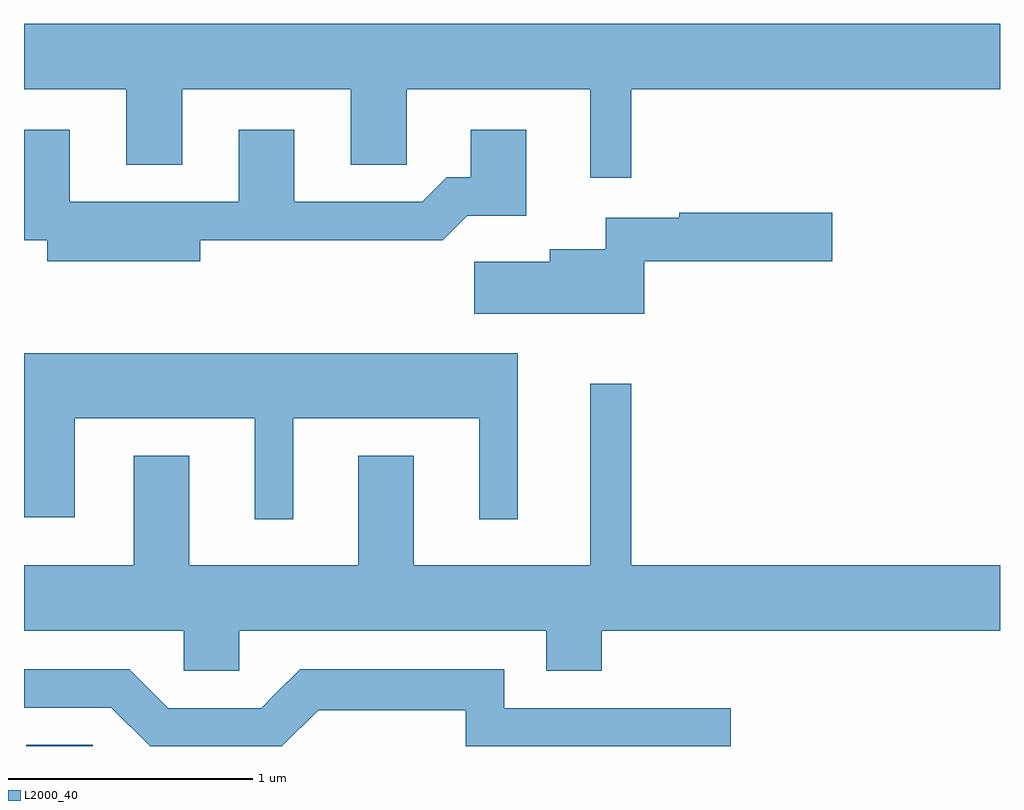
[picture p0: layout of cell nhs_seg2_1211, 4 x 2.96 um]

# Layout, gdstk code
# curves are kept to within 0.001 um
import gdstk
lib = gdstk.Library(unit=1e-6, precision=1e-09)
def R(c, l, rs):  # rectangles x0, y0, x1, y1
    for r in rs: c.add(gdstk.rectangle(r[:2], r[2:], *l))
def P(c, l, *ps):  # polygons
    for p in ps: c.add(gdstk.Polygon(p, *l))
L2000_40 = (2000, 40)

nhs_seg2_1211 = lib.new_cell('nhs_seg2_1211')
R(nhs_seg2_1211, L2000_40, [(219.621,1087.802,219.893,1087.809)])
P(nhs_seg2_1211, L2000_40, [(222.099,1090.496),(223.611,1090.496),(223.611,1090.764),(219.611,1090.764),(219.611,1090.496),(220.031,1090.496),(220.031,1090.186),(220.259,1090.186),(220.259,1090.496),(220.951,1090.496),(220.951,1090.186),(221.179,1090.186),(221.179,1090.496),(221.931,1090.496),(221.931,1090.133),(222.099,1090.133)],
  [(220.334,1089.876),(221.327,1089.876),(221.427,1089.976),(221.669,1089.976),(221.669,1090.329),(221.441,1090.329),(221.441,1090.134),(221.344,1090.134),(221.244,1090.034),(220.719,1090.034),(220.719,1090.329),(220.491,1090.329),(220.491,1090.034),(219.799,1090.034),(219.799,1090.329),(219.611,1090.329),(219.611,1089.876),(219.706,1089.876),(219.706,1089.791),(220.334,1089.791)],
  [(222.154,1089.791),(222.924,1089.791),(222.924,1089.989),(222.296,1089.989),(222.296,1089.969),(221.996,1089.969),(221.996,1089.839),(221.766,1089.839),(221.766,1089.789),(221.456,1089.789),(221.456,1089.576),(222.154,1089.576)],
  [(220.714,1089.146),(221.476,1089.146),(221.476,1088.733),(221.634,1088.733),(221.634,1089.414),(219.611,1089.414),(219.611,1088.741),(219.819,1088.741),(219.819,1089.146),(220.556,1089.146),(220.556,1088.733),(220.714,1088.733)],
  [(220.494,1088.276),(221.751,1088.276),(221.751,1088.111),(221.979,1088.111),(221.979,1088.276),(223.611,1088.276),(223.611,1088.544),(222.099,1088.544),(222.099,1089.288),(221.931,1089.288),(221.931,1088.544),(221.209,1088.544),(221.209,1088.994),(220.981,1088.994),(220.981,1088.544),(220.289,1088.544),(220.289,1088.994),(220.061,1088.994),(220.061,1088.544),(219.611,1088.544),(219.611,1088.276),(220.266,1088.276),(220.266,1088.111),(220.494,1088.111)],
  [(220.817,1087.951),(221.421,1087.951),(221.421,1087.802),(222.508,1087.802),(222.508,1087.959),(221.579,1087.959),(221.579,1088.119),(220.744,1088.119),(220.584,1087.959),(220.202,1087.959),(220.042,1088.119),(219.611,1088.119),(219.611,1087.961),(219.969,1087.961),(220.128,1087.802),(220.668,1087.802)])

lib.write_gds('nhs_seg2_1211.gds')
